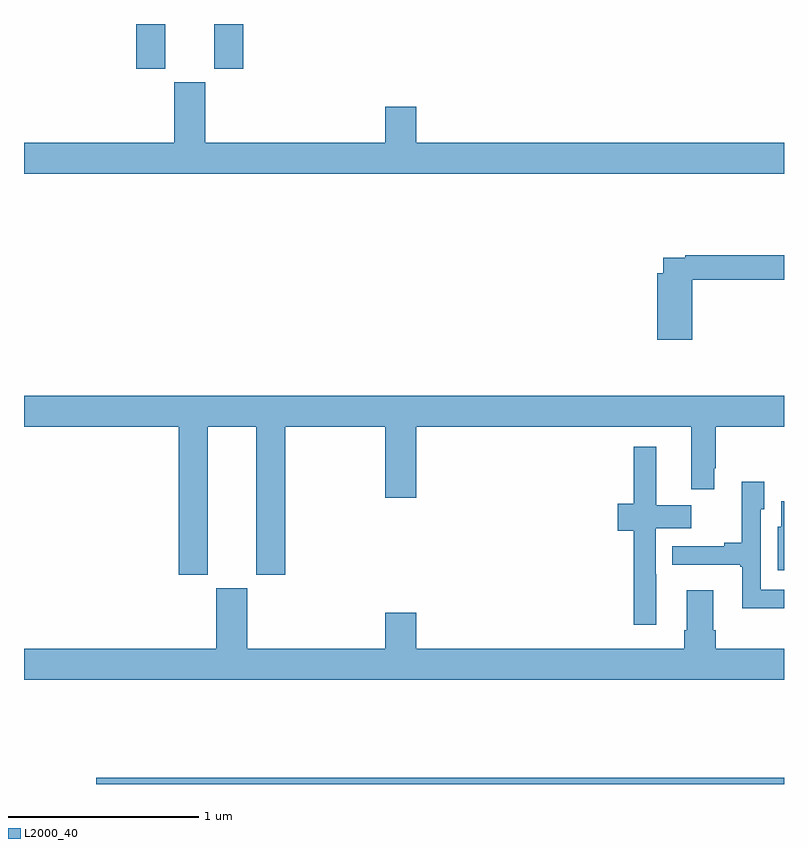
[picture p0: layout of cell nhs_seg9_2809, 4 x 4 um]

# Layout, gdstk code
import gdstk
lib = gdstk.Library(unit=1e-6, precision=1e-09)
def R(c, l, rs):  # rectangles x0, y0, x1, y1
    for r in rs: c.add(gdstk.rectangle(r[:2], r[2:], *l))
def P(c, l, *ps):  # polygons
    for p in ps: c.add(gdstk.Polygon(p, *l))
L2000_40 = (2000, 40)

nhs_seg9_2809 = lib.new_cell('nhs_seg9_2809')
R(nhs_seg9_2809, L2000_40, [(271.379,1234.5,275,1234.532), (271.592,1238.265,271.744,1238.5), (272,1238.265,272.153,1238.5)])
P(nhs_seg9_2809, L2000_40, [(275,1237.876),(273.064,1237.876),(273.064,1238.065),(272.9,1238.065),(272.9,1237.876),(271.954,1237.876),(271.954,1238.193),(271.79,1238.193),(271.79,1237.876),(271,1237.876),(271,1237.712),(275,1237.712)],
  [(274.517,1237.153),(275,1237.153),(275,1237.282),(274.48,1237.282),(274.48,1237.269),(274.364,1237.269),(274.364,1237.189),(274.334,1237.189),(274.334,1236.837),(274.517,1236.837)],
  [(271,1236.38),(271.814,1236.38),(271.814,1235.601),(271.966,1235.601),(271.966,1236.38),(272.222,1236.38),(272.222,1235.601),(272.375,1235.601),(272.375,1236.38),(272.9,1236.38),(272.9,1236.006),(273.064,1236.006),(273.064,1236.38),(274.511,1236.38),(274.511,1236.051),(274.633,1236.051),(274.633,1236.163),(274.641,1236.163),(274.641,1236.38),(275,1236.38),(275,1236.544),(271,1236.544)],
  [(274.327,1235.603),(274.326,1235.603),(274.326,1235.846),(274.511,1235.846),(274.511,1235.968),(274.328,1235.968),(274.328,1236.274),(274.21,1236.274),(274.21,1235.976),(274.124,1235.976),(274.124,1235.834),(274.21,1235.834),(274.21,1235.337),(274.327,1235.337)],
  [(275,1235.523),(274.878,1235.523),(274.878,1235.946),(274.897,1235.946),(274.897,1236.091),(274.777,1236.091),(274.777,1235.771),(274.685,1235.771),(274.685,1235.751),(274.411,1235.751),(274.411,1235.654),(274.77,1235.654),(274.77,1235.643),(274.781,1235.643),(274.781,1235.426),(275,1235.426)],
  [(275,1235.988),(274.985,1235.988),(274.985,1235.853),(274.967,1235.853),(274.967,1235.626),(275,1235.626)],
  [(275,1235.212),(274.64,1235.212),(274.64,1235.308),(274.627,1235.308),(274.627,1235.521),(274.487,1235.521),(274.487,1235.308),(274.475,1235.308),(274.475,1235.212),(273.064,1235.212),(273.064,1235.401),(272.9,1235.401),(272.9,1235.212),(272.176,1235.212),(272.176,1235.529),(272.012,1235.529),(272.012,1235.212),(271,1235.212),(271,1235.048),(275,1235.048)])

lib.write_gds('nhs_seg9_2809.gds')
